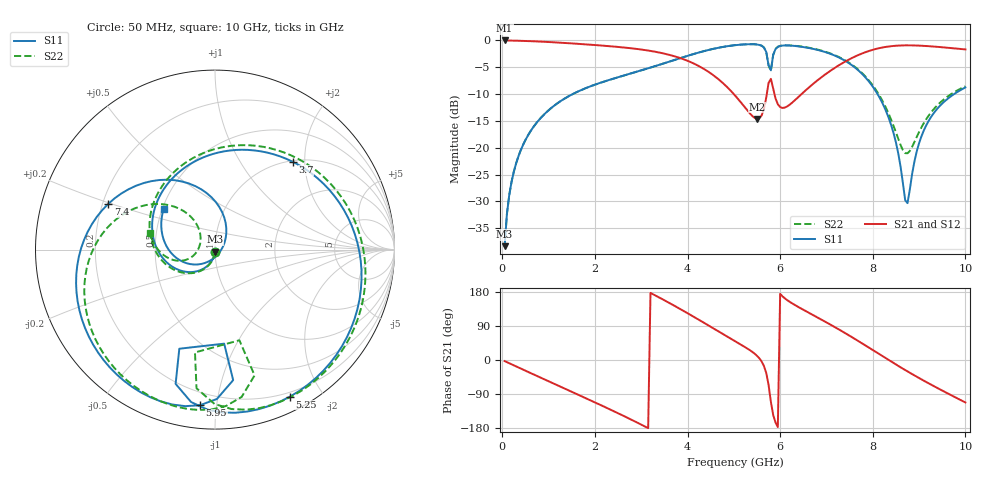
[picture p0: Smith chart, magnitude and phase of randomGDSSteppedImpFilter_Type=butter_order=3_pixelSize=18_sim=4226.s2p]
! freq	dB(S11)	phase(S11)	dB(S12)	phase(S12)
!  dB(S21)	phase(S21)	dB(S22)	phase(S22)
!S-par simulation data
#  GHz  S  DB  R 50
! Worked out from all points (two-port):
!   200 points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, 50 MHz to 10 GHz, reference 50 ohm
!   highest |S21| = -0.01 dB at 50 MHz (marker M1); lowest = -14.6 dB at 5.5 GHz (marker M2)
!   |S21| within 3 dB of the highest: start of sweep to 3.739 GHz; 7.615 GHz to end of sweep
!   lowest |S11| = -38.3 dB at 50 MHz (marker M3), VSWR 1.02, Z = 49.9 - j1.21 ohm
!   |S11| at or under -10 dB: start of sweep to 1.52 GHz; 8.103 GHz to 9.754 GHz (1.651 GHz wide, 18.5 % of centre)
!   |S22| runs from -38.3 to -0.7 dB; largest |S21 - S12| = 0
!   S11 on the Smith chart (normalised r, x): 50 MHz: 1.00, -0.02; 3.7 GHz: 1.02, +1.75; 5.25 GHz: 0.15, -1.62; 5.95 GHz: 0.12, -0.90; 7.4 GHz: 0.22, +0.19; 10 GHz: 0.51, +0.26
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0.05  -38.33 -92.1  -0.01 -2.9  -0.01 -2.9  -38.32 -92.0
0.2  -26.33 -101.8  -0.03 -11.4  -0.03 -11.4  -26.33 -101.1
0.5  -18.55 -119.6  -0.10 -28.2  -0.10 -28.2  -18.54 -117.9
1.15  -11.96 -157.0  -0.37 -64.5  -0.37 -64.5  -11.96 -153.3
1.75  -9.08 168.5  -0.70 -97.8  -0.70 -97.8  -9.08 174.2
2.65  -6.47 115.6  -1.34 -149.3  -1.34 -149.3  -6.48 124.0
3.4  -4.52 68.4  -2.27 164.2  -2.27 164.2  -4.52 78.0
3.7  -3.69 48.4  -2.91 144.3  -2.91 144.3  -3.70 58.0
4.45  -1.78 -4.5  -5.84 91.4  -5.84 91.4  -1.78 4.6
5.05  -0.86 -48.2  -10.49 48.0  -10.49 48.0  -0.86 -39.6
5.25  -0.73 -63.0  -12.59 33.4  -12.59 33.4  -0.72 -54.4
5.5  -0.76 -82.9  -14.62 11.1  -14.62 11.1  -0.75 -74.3
5.7  -2.16 -106.3  -10.62 -34.1  -10.62 -34.1  -2.17 -97.6
5.8  -5.57 -84.4  -7.16 -110.6  -7.16 -110.6  -5.63 -74.9
5.95  -1.20 -95.6  -11.90 -177.0  -11.90 -177.0  -1.17 -86.0
6.7  -1.55 -152.4  -8.18 119.3  -8.18 119.3  -1.50 -140.0
7.4  -3.78 156.9  -3.96 71.3  -3.96 71.3  -3.68 175.5
7.85  -6.98 120.3  -2.16 37.7  -2.16 37.7  -6.81 147.1
8.35  -14.58 74.1  -1.12 -0.6  -1.12 -0.6  -13.80 125.7
8.75  -30.31 -53.1  -0.92 -30.1  -0.92 -30.1  -21.02 168.9
9.15  -15.89 -149.9  -1.04 -57.8  -1.04 -57.8  -14.73 -160.9
10  -8.76 141.7  -1.68 -112.1  -1.68 -112.1  -8.54 165.8
